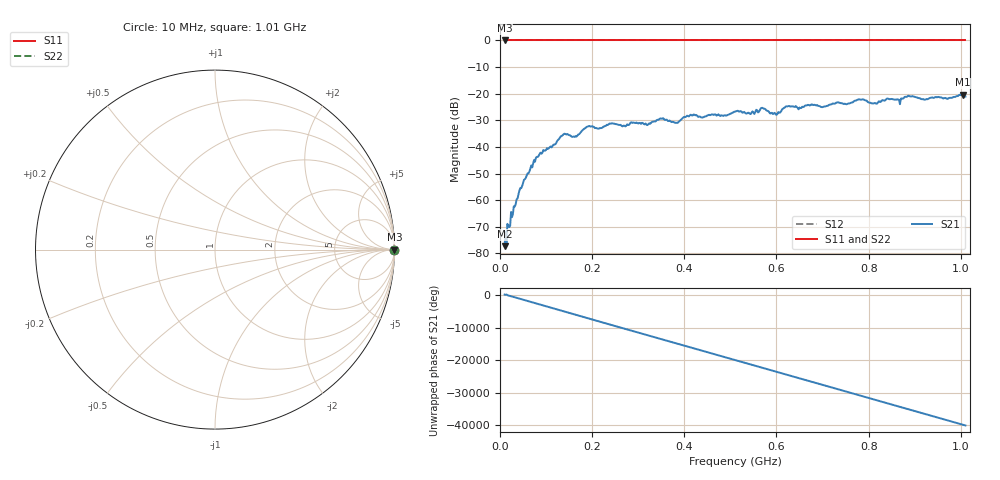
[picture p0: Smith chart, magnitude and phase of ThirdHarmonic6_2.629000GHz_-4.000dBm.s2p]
! 8/17/2025 5:51:54 AM
! C:\ANRITSUVNA\TEMP\TEMP.S2P
! CHANNEL.1
! TR.MEASUREMENT
! RAW.DATA
! RF.CORRECTION.OFF
! AVERAGING.OFF
! IF.BANDWIDTH: 5KHZ
! SWEEPTYPE:  FREQ.SWEEP(Linear)
! Reference Plane Port Info
! PORT:  PORT1  PORT2
! DISTANCE:  0  m  0  m
! TIME:  0  s  0  s
! PHASE.OFFSET:  0  deg.  0  deg.
! LOSS:  0  dB  0  dB
! REF.LOSS:  0  dB  0  dB
! REF.FREQ:  0  Hz  0  Hz
! Power Info
! POWER:  -20  dBm  -20  dBm
! EFF.POWER:  -20  dBm  -20  dBm
! SOURCE.ATTEN:  0  dB  0  dB
! TEST.ATTEN:  0  dB  0  dB
# GHZ S RI R 50.0
! FREQ.GHZ  S11RE  S11IM  S21RE  S21IM  S12RE  S12IM  S22RE  S22IM
!; PortSelection: Port_12
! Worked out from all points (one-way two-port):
!   501 points, 10 MHz to 1.01 GHz, reference 50 ohm
!   highest |S21| = -20.35 dB at 1.004 GHz (marker M1); lowest = -77.3 dB at 10 MHz (marker M2)
!   lowest |S11| = 0.0 dB at 10 MHz (marker M3)
!   |S11| at or under -10 dB: nowhere
!   |S22| runs from 0.0 to 0.0 dB; largest |S21 - S12| = 1.1
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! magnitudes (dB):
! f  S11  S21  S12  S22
! 10 MHz  0.0  -77.3  0.0  0.0
! 20 MHz  0.0  -70.1  0.0  0.0
! 40 MHz  0.0  -57.8  0.0  0.0
! 76 MHz  0.0  -45.6  0.0  0.0
! 136 MHz  0.0  -35.6  0.0  0.0
! 162 MHz  0.0  -36.2  0.0  0.0
! 178 MHz  0.0  -33.9  0.0  0.0
! 192 MHz  0.0  -32.2  0.0  0.0
! 322 MHz  0.0  -31.4  0.0  0.0
! 344 MHz  0.0  -29.8  0.0  0.0
! 382 MHz  0.0  -30.9  0.0  0.0
! 416 MHz  0.0  -28.2  0.0  0.0
! 510 MHz  0.0  -26.7  0.0  0.0
! 570 MHz  0.0  -25.3  0.0  0.0
! 598 MHz  0.0  -27.6  0.0  0.0
! 624 MHz  0.0  -24.8  0.0  0.0
! 678 MHz  0.0  -24.1  0.0  0.0
! 784 MHz  0.0  -22.2  0.0  0.0
! 814 MHz  0.0  -23.5  0.0  0.0
! 844 MHz  0.0  -22.0  0.0  0.0
! 1.004 GHz  0.0  -20.4  0.0  0.0
! 1.01 GHz  0.0  -21.1  0.0  0.0
